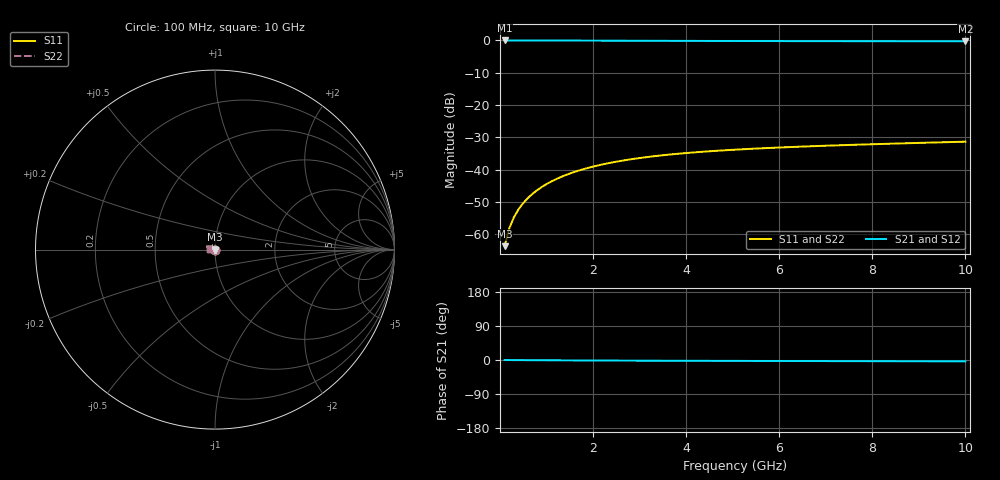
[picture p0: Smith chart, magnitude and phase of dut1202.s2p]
! Touchstone file exported from HFSS 2024.1.0
!  File:  C:/UserFiles/LocalFiles/RDL_TSV_Batchsim/temp_TSV1_1202_1780247536.aedt
!  Generated:  01:17:37 AM Jun  1, 2026
!  Design:  TSV1
!  Project:  temp_TSV1_1202_1780247536
!  Setup:  Setup1
!  Solution:  Sweep
! Variables:
!  dtsv = 6.84um
!  hbump = 3um
!  htsv = 52.98um
!  lrdl = 252.1521522um
!  p = 40
!  p1 = 40.22um
!  t = 500um
!  trdl = 3um
!  wrdl = 24.89489489um
# GHz S MA R 50.000000
! Terminal data exported
! Port[1] = TSV22_T1
! Port[2] = TSV22_T2
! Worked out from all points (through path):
!   100 points, 100 MHz to 10 GHz, reference 50 ohm
!   highest |S21| = 0.00 dB at 100 MHz (marker M1); lowest = -0.3 dB at 10 GHz (marker M2)
!   lowest |S11| = -63.7 dB at 100 MHz (marker M3), VSWR 1.00, Z = 50 - j0.0611 ohm
!   |S11| at or under -10 dB: start of sweep to end of sweep
!   |S22| runs from -63.7 to -31.4 dB; largest |S21 - S12| = 5.3e-15
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0.1  0.0006506 -69.8  0.9997 -0.1  0.9997 -0.1  0.0006506 -69.8
! Gamma 0 0 0 0
! Port Impedance 50 0 50 0
0.2  0.001231 -82.3  0.9997 -0.2  0.9997 -0.2  0.001231 -82.3
0.3  0.001826 -87.9  0.9996 -0.2  0.9996 -0.2  0.001826 -87.9
0.4  0.002425 -91.6  0.9994 -0.3  0.9994 -0.3  0.002425 -91.6
0.5  0.003025 -94.5  0.9992 -0.4  0.9992 -0.4  0.003025 -94.5
0.6  0.003621 -97.0  0.999 -0.4  0.999 -0.4  0.003621 -97.0
0.7  0.004214 -99.2  0.9988 -0.5  0.9988 -0.5  0.004214 -99.2
0.8  0.004801 -101.3  0.9985 -0.6  0.9985 -0.6  0.004801 -101.3
0.9  0.005382 -103.3  0.9982 -0.7  0.9982 -0.7  0.005382 -103.3
1.1  0.006518 -107.0  0.9975 -0.8  0.9975 -0.8  0.006518 -107.0
1.4  0.00815 -112.2  0.9963 -1.0  0.9963 -1.0  0.00815 -112.2
1.6  0.009183 -115.4  0.9954 -1.1  0.9954 -1.1  0.009183 -115.4
1.8  0.01017 -118.6  0.9945 -1.2  0.9945 -1.2  0.01017 -118.6
2.1  0.01156 -123.1  0.993 -1.4  0.993 -1.4  0.01156 -123.1
2.5  0.01324 -128.7  0.991 -1.6  0.991 -1.6  0.01324 -128.7
2.9  0.01473 -133.9  0.9891 -1.7  0.9891 -1.7  0.01473 -133.9
3.4  0.01636 -139.9  0.9867 -1.9  0.9867 -1.9  0.01636 -139.9
4.2  0.01851 -148.5  0.9833 -2.2  0.9833 -2.2  0.01851 -148.5
5.1  0.02042 -156.7  0.9801 -2.4  0.9801 -2.4  0.02042 -156.7
6.7  0.02299 -168.8  0.976 -2.8  0.976 -2.8  0.02299 -168.8
8.4  0.02516 -179.2  0.973 -3.2  0.973 -3.2  0.02516 -179.2
10  0.02704 172.7  0.971 -3.6  0.971 -3.6  0.02704 172.7
